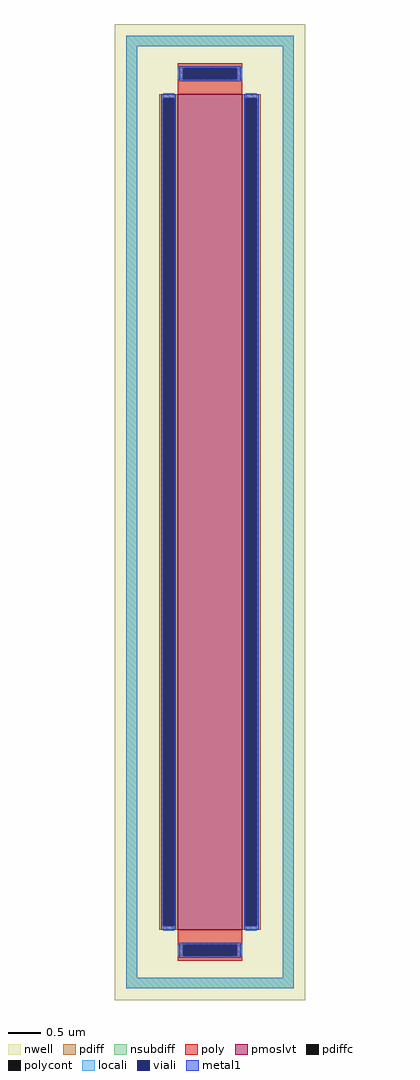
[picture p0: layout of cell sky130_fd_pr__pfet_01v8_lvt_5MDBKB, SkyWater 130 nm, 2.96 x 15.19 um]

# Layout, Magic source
magic
tech sky130A
magscale 1 2
<< nwell >>
rect -296 -1519 296 1519
<< pmoslvt >>
rect -100 -1300 100 1300
<< pdiff >>
rect -158 1288 -100 1300
rect -158 -1288 -146 1288
rect -112 -1288 -100 1288
rect -158 -1300 -100 -1288
rect 100 1288 158 1300
rect 100 -1288 112 1288
rect 146 -1288 158 1288
rect 100 -1300 158 -1288
<< pdiffc >>
rect -146 -1288 -112 1288
rect 112 -1288 146 1288
<< nsubdiff >>
rect -260 1449 260 1483
rect -260 -1449 -226 1449
rect 226 -1449 260 1449
rect -260 -1483 260 -1449
<< poly >>
rect -100 1381 100 1397
rect -100 1347 -84 1381
rect 84 1347 100 1381
rect -100 1300 100 1347
rect -100 -1347 100 -1300
rect -100 -1381 -84 -1347
rect 84 -1381 100 -1347
rect -100 -1397 100 -1381
<< polycont >>
rect -84 1347 84 1381
rect -84 -1381 84 -1347
<< locali >>
rect -260 1449 260 1483
rect -260 -1449 -226 1449
rect -100 1347 -84 1381
rect 84 1347 100 1381
rect -146 1288 -112 1304
rect -146 -1304 -112 -1288
rect 112 1288 146 1304
rect 112 -1304 146 -1288
rect -100 -1381 -84 -1347
rect 84 -1381 100 -1347
rect 226 -1449 260 1449
rect -260 -1483 260 -1449
<< viali >>
rect -84 1347 84 1381
rect -146 -1288 -112 1288
rect 112 -1288 146 1288
rect -84 -1381 84 -1347
<< metal1 >>
rect -96 1381 96 1387
rect -96 1347 -84 1381
rect 84 1347 96 1381
rect -96 1341 96 1347
rect -152 1288 -106 1300
rect -152 -1288 -146 1288
rect -112 -1288 -106 1288
rect -152 -1300 -106 -1288
rect 106 1288 152 1300
rect 106 -1288 112 1288
rect 146 -1288 152 1288
rect 106 -1300 152 -1288
rect -96 -1347 96 -1341
rect -96 -1381 -84 -1347
rect 84 -1381 96 -1347
rect -96 -1387 96 -1381
<< properties >>
string FIXED_BBOX -243 -1466 243 1466
string gencell sky130_fd_pr__pfet_01v8_lvt
string library sky130
string parameters w 13.0 l 1.0 m 1 nf 1 diffcov 100 polycov 100 guard 1 glc 0 grc 0 gtc 0 gbc 0 tbcov 100 rlcov 100 topc 1 botc 1 poverlap 0 doverlap 1 lmin 0.35 wmin 0.42 class mosfet compatible {sky130_fd_pr__pfet_01v8  sky130_fd_pr__pfet_01v8_lvt sky130_fd_pr__pfet_01v8_hvt  sky130_fd_pr__pfet_g5v0d10v5} full_metal 1 viasrc 100 viadrn 100 viagate 100 viagb 0 viagr 0 viagl 0 viagt 0
<< end >>
